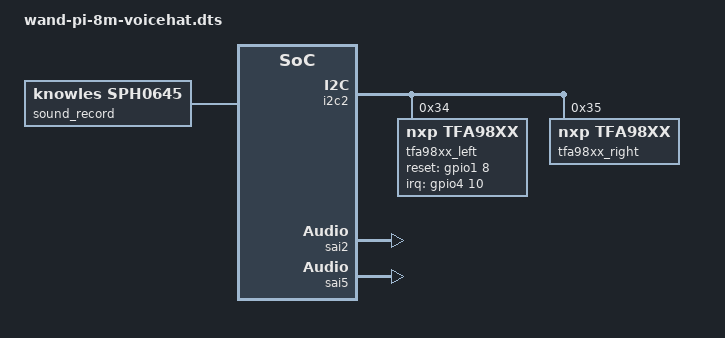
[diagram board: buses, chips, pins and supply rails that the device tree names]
/*
 * Copyright 2017 NXP
 *
 * This program is free software; you can redistribute it and/or
 * modify it under the terms of the GNU General Public License
 * as published by the Free Software Foundation; either version 2
 * of the License, or (at your option) any later version.
 *
 * This program is distributed in the hope that it will be useful,
 * but WITHOUT ANY WARRANTY; without even the implied warranty of
 * MERCHANTABILITY or FITNESS FOR A PARTICULAR PURPOSE.  See the
 * GNU General Public License for more details.
 */

#include "wand-pi-8m.dts"

/ {
	/delete-node/ sound-hdmi;

	aliases {
		csi0 = &mipi_csi_1;
		csi1 = &mipi_csi_2;
		ethernet0 = &fec1;
		serial0 = &uart1;
		serial1 = &uart2;
		serial2 = &uart3;
		serial3 = &uart4;
		mmc0 = &usdhc1;
		mmc1 = &usdhc2;
		gpio0 = &gpio1;
		gpio1 = &gpio2;
		gpio2 = &gpio3;
		gpio3 = &gpio4;
		gpio4 = &gpio5;
		dsi_phy0 = &mipi_dsi_phy;
		mipi_dsi0 = &mipi_dsi;
		i2c0 = &i2c1;
		i2c1 = &i2c2;
		i2c2 = &i2c3;
		i2c3 = &i2c4;
    };

	sound_record: codec {
		compatible = "knowles,sph0645";
		
	};

	sound@1 {
		compatible = "nxp,imx-audio-tfa98xx", "nxp,imx-tfa98xx";
		nxp,model = "TFA9912";
		cpu-dai = <&sai2>;
		ssi-controller = <&sai2>;
		nxp,audio-codec = <&tfa98xx_left &tfa98xx_right>;
		clocks = <&clk IMX8MQ_AUDIO_PLL1>;
		nxp,audio-routing =
			"Speaker", "OUTL",
			"DMIC1", "Mic",
			"DMIC2", "Mic",
			"DMIC3", "Mic",
			"DMIC4", "Mic";
	};

	sound@2 {
		compatible = "nxp,imx-audio-sph0645", "nxp,imx-sph0645";
		nxp,model = "SPH0645";
		cpu-dai = <&sai5>;
		ssi-controller = <&sai5>;
		nxp,audio-codec = <&sound_record>;
		clocks = <&clk IMX8MQ_AUDIO_PLL1>;
	};
};

&iomuxc {
	pinctrl-names = "default";

	wand-pi-8m {

        pinctrl_sai2: sai2grp {
            fsl,pins = <
                MX8MQ_IOMUXC_SAI2_TXFS_SAI2_TX_SYNC 0xd6
                MX8MQ_IOMUXC_SAI2_TXC_SAI2_TX_BCLK  0xd6
                MX8MQ_IOMUXC_SAI2_MCLK_SAI2_MCLK    0xd6
                MX8MQ_IOMUXC_SAI2_TXD0_SAI2_TX_DATA0    0xd6
                MX8MQ_IOMUXC_GPIO1_IO08_GPIO1_IO8   0xd6
				MX8MQ_IOMUXC_SAI1_TXFS_GPIO4_IO10   0xd6
            >;
        };

        pinctrl_sai5: sai5grp {
            fsl,pins = <
                MX8MQ_IOMUXC_SAI5_RXFS_SAI5_RX_SYNC 0xd1
                MX8MQ_IOMUXC_SAI5_RXC_SAI5_RX_BCLK  0xd1
                MX8MQ_IOMUXC_SAI5_MCLK_SAI5_MCLK    0xd1
                MX8MQ_IOMUXC_SAI5_RXD0_SAI5_RX_DATA0 0xd1
            >;
        };
	};
};

&i2c2 {
	tfa98xx_left: tfa98xx_left@34 {
		compatible = "nxp,tfa98xx";
		reg = <0x34>;
		reset-gpio = <&gpio1 8 GPIO_ACTIVE_HIGH>; //GPIO_P31
		irq-gpio = <&gpio4 10 GPIO_ACTIVE_HIGH>; //GPIO_P35
		clocks = <&clk IMX8MQ_AUDIO_PLL1>;
	};
	tfa98xx_right: tfa98xx_right@35 {
		compatible = "nxp,tfa98xx";
		reg = <0x35>;
		clocks = <&clk IMX8MQ_AUDIO_PLL1>;
	};
};

&sai2 {
	pinctrl-names = "default";
	pinctrl-0 = <&pinctrl_sai2>;
	assigned-clocks = <&clk IMX8MQ_CLK_SAI2_SRC>,
			<&clk IMX8MQ_CLK_SAI2_DIV>;
	assigned-clock-parents = <&clk IMX8MQ_AUDIO_PLL1_OUT>;
	assigned-clock-rates = <0>, <49152000>;
	status = "okay";
};

&sai5 {
	pinctrl-names = "default";
	pinctrl-0 = <&pinctrl_sai5>;
	assigned-clocks = <&clk IMX8MQ_CLK_SAI5_SRC>,
			<&clk IMX8MQ_CLK_SAI5_DIV>;
	assigned-clock-parents = <&clk IMX8MQ_AUDIO_PLL1_OUT>;
	assigned-clock-rates = <0>, <24576000>;
    fsl,dataline = <0x1 0x1>;
    fsl,shared-interrupt;
	status = "okay";
};
